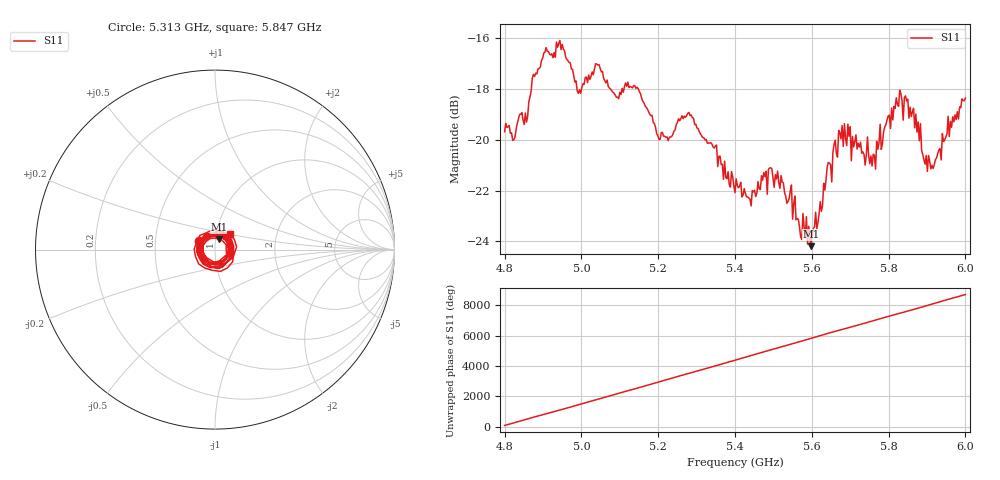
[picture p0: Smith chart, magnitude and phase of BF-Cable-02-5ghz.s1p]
! NanoVNA-App
! Date: 2026-05-22 19:16:05
! Start: 4.8GHz Stop: 6GHz Points: 401
! S-Parameter data: F S11
# Hz S RI R 50
!  Frequency  S11_Real  S11_Imag
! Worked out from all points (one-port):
!   401 points, 4.8 GHz to 6 GHz, reference 50 ohm
!   lowest |S11| = -24.2 dB at 5.598 GHz (marker M1), VSWR 1.13, Z = 51.9 + j6.02 ohm
!   |S11| at or under -10 dB: start of sweep to end of sweep
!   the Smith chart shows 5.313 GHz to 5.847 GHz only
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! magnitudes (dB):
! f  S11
! 4.8 GHz  -19.7
! 4.824 GHz  -20.0
! 4.854 GHz  -18.9
! 4.875 GHz  -17.4
! 4.902 GHz  -16.6
! 4.95 GHz  -16.2
! 4.995 GHz  -18.0
! 5.043 GHz  -17.1
! 5.1 GHz  -18.1
! 5.145 GHz  -17.9
! 5.202 GHz  -20.0
! 5.25 GHz  -19.3
! 5.286 GHz  -19.0
! 5.4 GHz  -22.1
! 5.436 GHz  -22.3
! 5.493 GHz  -21.1
! 5.55 GHz  -23.1
! 5.568 GHz  -23.4
! 5.598 GHz  -24.2
! 5.664 GHz  -20.5
! 5.7 GHz  -19.5
! 5.76 GHz  -20.6
! 5.826 GHz  -18.7
! 5.85 GHz  -18.4
! 5.877 GHz  -19.3
! 5.895 GHz  -21.0
! 5.913 GHz  -21.0
! 6 GHz  -18.4
